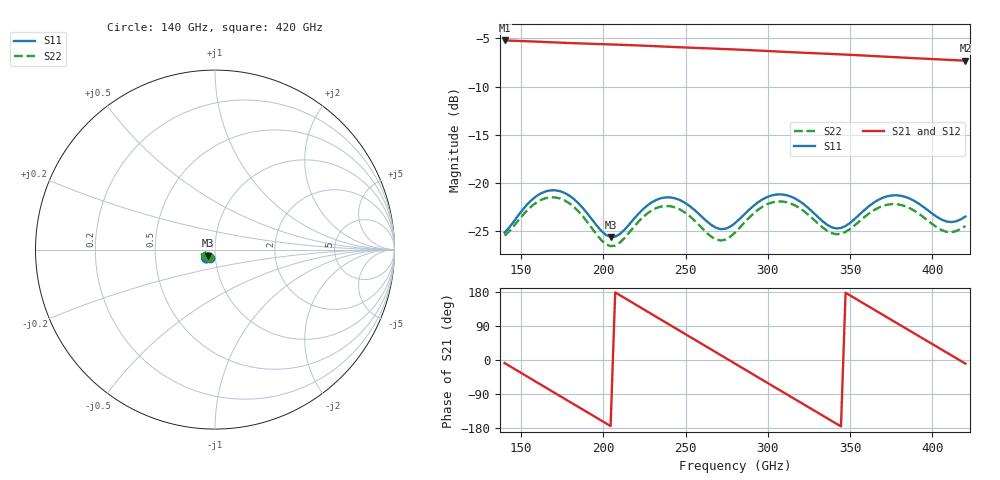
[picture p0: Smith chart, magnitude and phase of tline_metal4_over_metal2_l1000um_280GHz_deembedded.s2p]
! Created with skrf 2.0.1 (http://scikit-rf.org).
# GHz S DB R 50.0
!freq dBS11 angS11 dBS21 angS21 dBS12 angS12 dBS22 angS22
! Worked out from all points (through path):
!   101 points, 140 GHz to 420 GHz, reference 50 ohm
!   highest |S21| = -5.21 dB at 140 GHz (marker M1); lowest = -7.3 dB at 420 GHz (marker M2)
!   group delay of S21, straight-line fit = 7.16 ps
!   lowest |S11| = -25.6 dB at 204.4 GHz (marker M3), VSWR 1.11, Z = 46 - j3.06 ohm
!   |S11| at or under -10 dB: start of sweep to end of sweep
!   |S22| runs from -26.6 to -21.5 dB; largest |S21 - S12| = 8.6e-14
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140  -25.15 -122.7  -5.21 -8.1  -5.21 -8.1  -25.47 -129.8
151.2  -22.74 -117.1  -5.28 -37.1  -5.28 -37.1  -23.31 -124.6
165.2  -20.87 -129.6  -5.38 -73.3  -5.38 -73.3  -21.57 -137.2
176.4  -21.04 -143.0  -5.46 -102.2  -5.46 -102.2  -21.81 -150.9
187.6  -22.62 -152.4  -5.53 -131.0  -5.53 -131.0  -23.49 -160.6
204.4  -25.62 -140.7  -5.62 -174.3  -5.62 -174.3  -26.57 -148.4
218.4  -23.77 -125.5  -5.71 149.5  -5.71 149.5  -24.60 -133.7
235.2  -21.58 -135.0  -5.83 106.0  -5.83 106.0  -22.45 -144.6
254.8  -22.73 -150.0  -5.98 55.5  -5.98 55.5  -23.81 -160.5
268.8  -24.68 -144.0  -6.07 19.4  -6.07 19.4  -25.90 -153.1
280  -24.18 -131.4  -6.15 -9.5  -6.15 -9.5  -25.16 -139.7
291.2  -22.39 -129.6  -6.24 -38.4  -6.24 -38.4  -23.18 -139.0
305.2  -21.20 -139.5  -6.35 -74.5  -6.35 -74.5  -21.94 -150.3
316.4  -21.61 -148.8  -6.45 -103.3  -6.45 -103.3  -22.33 -160.4
327.6  -23.09 -153.1  -6.53 -132.1  -6.53 -132.1  -23.77 -165.4
338.8  -24.62 -145.7  -6.62 -160.9  -6.62 -160.9  -25.22 -159.1
350  -24.14 -132.8  -6.71 170.2  -6.71 170.2  -24.78 -147.9
361.2  -22.44 -130.4  -6.80 141.4  -6.80 141.4  -23.21 -146.6
375.2  -21.30 -138.7  -6.93 105.4  -6.93 105.4  -22.20 -155.8
394.8  -22.53 -149.5  -7.10 55.2  -7.10 55.2  -23.59 -167.3
408.8  -24.02 -142.5  -7.22 19.2  -7.22 19.2  -25.09 -160.4
420  -23.49 -132.3  -7.32 -9.5  -7.32 -9.5  -24.47 -151.1
